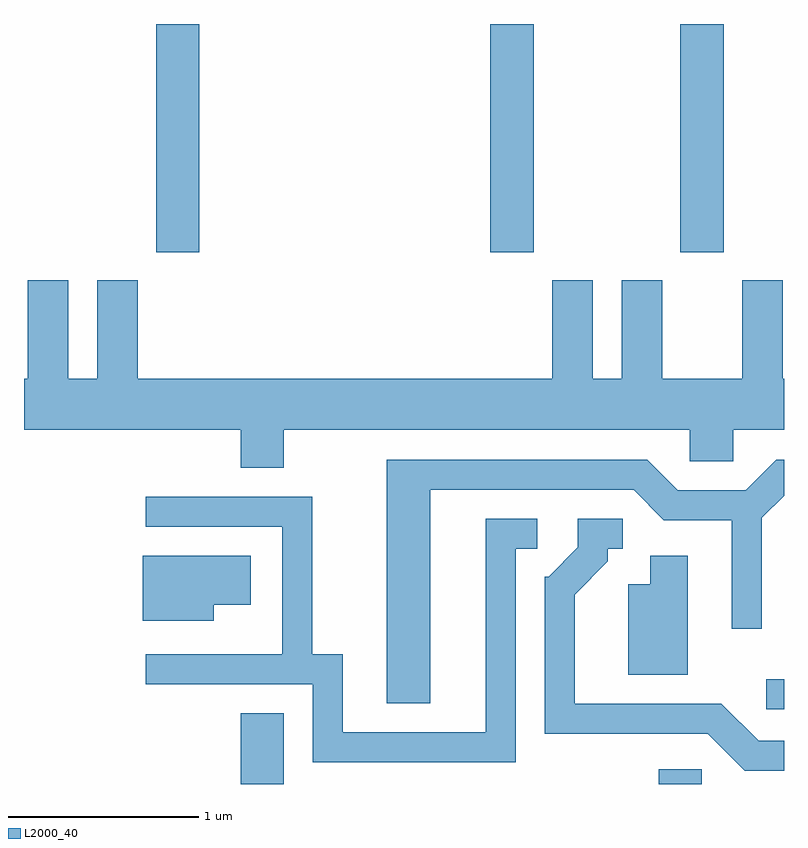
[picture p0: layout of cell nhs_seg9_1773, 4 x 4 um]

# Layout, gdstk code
import gdstk
lib = gdstk.Library(unit=1e-6, precision=1e-09)
def R(c, l, rs):  # rectangles x0, y0, x1, y1
    for r in rs: c.add(gdstk.rectangle(r[:2], r[2:], *l))
def P(c, l, *ps):  # polygons
    for p in ps: c.add(gdstk.Polygon(p, *l))
L2000_40 = (2000, 40)

nhs_seg9_1773 = lib.new_cell('nhs_seg9_1773')
R(nhs_seg9_1773, L2000_40, [(238.751,1954.432,238.979,1954.804), (240.951,1954.432,241.179,1954.509), (241.518,1954.826,241.611,1954.984), (238.306,1957.231,238.534,1958.432), (240.066,1957.231,240.294,1958.432), (241.066,1957.231,241.294,1958.432)])
P(nhs_seg9_1773, L2000_40, [(238.979,1956.296),(241.116,1956.296),(241.116,1956.131),(241.344,1956.131),(241.344,1956.296),(241.611,1956.296),(241.611,1956.564),(241.604,1956.564),(241.604,1957.084),(241.391,1957.084),(241.391,1956.564),(240.969,1956.564),(240.969,1957.084),(240.756,1957.084),(240.756,1956.564),(240.604,1956.564),(240.604,1957.084),(240.391,1957.084),(240.391,1956.564),(238.209,1956.564),(238.209,1957.084),(237.996,1957.084),(237.996,1956.564),(237.844,1956.564),(237.844,1957.084),(237.631,1957.084),(237.631,1956.564),(237.611,1956.564),(237.611,1956.296),(238.751,1956.296),(238.751,1956.096),(238.979,1956.096)],
  [(239.749,1955.981),(240.819,1955.981),(240.979,1955.821),(241.336,1955.821),(241.336,1955.248),(241.494,1955.248),(241.494,1955.834),(241.611,1955.95),(241.611,1956.139),(241.569,1956.139),(241.409,1955.979),(241.052,1955.979),(240.892,1956.139),(239.521,1956.139),(239.521,1954.856),(239.749,1954.856)],
  [(240.199,1955.671),(240.313,1955.671),(240.313,1955.829),(240.041,1955.829),(240.041,1954.704),(239.289,1954.704),(239.289,1955.114),(239.129,1955.114),(239.129,1955.944),(238.253,1955.944),(238.253,1955.786),(238.971,1955.786),(238.971,1955.114),(238.253,1955.114),(238.253,1954.956),(239.131,1954.956),(239.131,1954.546),(240.199,1954.546)],
  [(241.611,1954.659),(241.477,1954.659),(241.282,1954.854),(240.509,1954.854),(240.509,1955.429),(240.684,1955.604),(240.684,1955.671),(240.763,1955.671),(240.763,1955.829),(240.526,1955.829),(240.526,1955.677),(240.374,1955.524),(240.351,1955.524),(240.351,1954.696),(241.209,1954.696),(241.404,1954.501),(241.611,1954.501)],
  [(238.609,1955.376),(238.804,1955.376),(238.804,1955.634),(238.236,1955.634),(238.236,1955.291),(238.609,1955.291)],
  [(241.104,1955.634),(240.906,1955.634),(240.906,1955.484),(240.791,1955.484),(240.791,1955.006),(241.104,1955.006)])

lib.write_gds('nhs_seg9_1773.gds')
